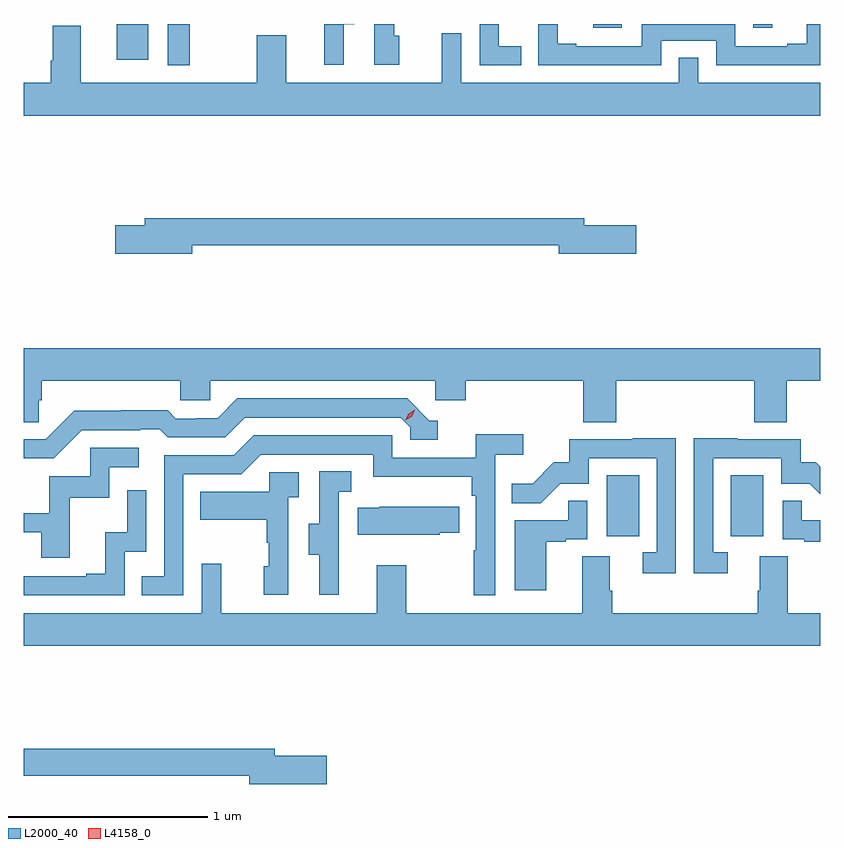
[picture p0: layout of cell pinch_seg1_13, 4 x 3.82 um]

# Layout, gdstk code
import gdstk
lib = gdstk.Library(unit=1e-6, precision=1e-09)
def R(c, l, rs):  # rectangles x0, y0, x1, y1
    for r in rs: c.add(gdstk.rectangle(r[:2], r[2:], *l))
def P(c, l, *ps):  # polygons
    for p in ps: c.add(gdstk.Polygon(p, *l))
L2000_40 = (2000, 40)
L4158_0 = (4158, 0)

pinch_seg1_13 = lib.new_cell('pinch_seg1_13')
R(pinch_seg1_13, L2000_40, [(1122.848,572.262,1123.012,572.569), (1123.472,572.262,1123.636,572.569), (1120.644,574.629,1120.753,574.836), (1120.388,574.656,1120.546,574.836), (1122.781,574.818,1122.925,574.836), (1123.584,574.818,1123.681,574.836)])
P(pinch_seg1_13, L2000_40, [(1123.122,574.752),(1123.398,574.752),(1123.398,574.629),(1123.921,574.629),(1123.921,574.836),(1123.853,574.836),(1123.853,574.738),(1123.757,574.738),(1123.757,574.725),(1123.494,574.725),(1123.494,574.836),(1123.026,574.836),(1123.026,574.725),(1122.697,574.725),(1122.697,574.738),(1122.602,574.738),(1122.602,574.836),(1122.504,574.836),(1122.504,574.629),(1123.122,574.629)],
  [(1121.806,574.776),(1121.781,574.776),(1121.781,574.836),(1121.682,574.836),(1121.682,574.632),(1121.806,574.632)],
  [(1121.527,574.834),(1121.581,574.834),(1121.581,574.836),(1121.429,574.836),(1121.429,574.632),(1121.527,574.632)],
  [(1122.419,574.725),(1122.306,574.725),(1122.306,574.836),(1122.21,574.836),(1122.21,574.629),(1122.419,574.629)],
  [(1123.921,574.54),(1123.308,574.54),(1123.308,574.667),(1123.212,574.667),(1123.212,574.54),(1122.117,574.54),(1122.117,574.789),(1122.02,574.789),(1122.02,574.54),(1121.239,574.54),(1121.239,574.78),(1121.092,574.78),(1121.092,574.54),(1120.207,574.54),(1120.207,574.826),(1120.067,574.826),(1120.067,574.652),(1120.055,574.652),(1120.055,574.54),(1119.921,574.54),(1119.921,574.376),(1123.921,574.376)],
  [(1120.768,573.724),(1122.608,573.724),(1122.608,573.682),(1122.997,573.682),(1122.997,573.824),(1122.736,573.824),(1122.736,573.86),(1120.529,573.86),(1120.529,573.824),(1120.38,573.824),(1120.38,573.682),(1120.768,573.682)],
  [(1119.995,572.946),(1120.01,572.946),(1120.01,573.044),(1120.707,573.044),(1120.707,572.946),(1120.857,572.946),(1120.857,573.044),(1121.988,573.044),(1121.988,572.946),(1122.14,572.946),(1122.14,573.044),(1122.731,573.044),(1122.731,572.836),(1122.896,572.836),(1122.896,573.044),(1123.589,573.044),(1123.589,572.836),(1123.754,572.836),(1123.754,573.044),(1123.921,573.044),(1123.921,573.208),(1119.921,573.208),(1119.921,572.836),(1119.995,572.836)],
  [(1120.212,572.796),(1120.505,572.796),(1120.505,572.799),(1120.604,572.799),(1120.643,572.76),(1120.932,572.76),(1121.031,572.859),(1121.814,572.859),(1121.862,572.811),(1121.862,572.748),(1122.001,572.748),(1122.001,572.844),(1121.958,572.844),(1121.847,572.955),(1120.994,572.955),(1120.895,572.856),(1120.788,572.856),(1120.788,572.853),(1120.685,572.853),(1120.643,572.896),(1120.41,572.896),(1120.41,572.893),(1120.174,572.893),(1120.032,572.751),(1119.921,572.751),(1119.921,572.655),(1120.071,572.655)],
  [(1120.722,572.574),(1121.013,572.574),(1121.112,572.673),(1121.676,572.673),(1121.676,572.561),(1122.172,572.561),(1122.172,572.465),(1122.192,572.465),(1122.192,572.192),(1122.18,572.192),(1122.18,571.965),(1122.288,571.965),(1122.288,572.672),(1122.43,572.672),(1122.43,572.774),(1122.191,572.774),(1122.191,572.658),(1121.772,572.658),(1121.772,572.769),(1121.075,572.769),(1120.976,572.67),(1120.626,572.67),(1120.626,572.061),(1120.513,572.061),(1120.513,571.965),(1120.722,571.965)],
  [(1123.456,572.181),(1123.383,572.181),(1123.383,572.655),(1123.725,572.655),(1123.725,572.526),(1123.869,572.526),(1123.921,572.474),(1123.921,572.613),(1123.9,572.634),(1123.824,572.634),(1123.824,572.751),(1123.505,572.751),(1123.505,572.756),(1123.287,572.756),(1123.287,572.076),(1123.456,572.076)],
  [(1123.197,572.756),(1122.979,572.756),(1122.979,572.751),(1122.661,572.751),(1122.661,572.634),(1122.584,572.634),(1122.477,572.527),(1122.373,572.527),(1122.373,572.428),(1122.517,572.428),(1122.615,572.526),(1122.759,572.526),(1122.759,572.655),(1123.101,572.655),(1123.101,572.181),(1123.029,572.181),(1123.029,572.076),(1123.197,572.076)],
  [(1120.151,572.457),(1120.35,572.457),(1120.35,572.61),(1120.498,572.61),(1120.498,572.706),(1120.254,572.706),(1120.254,572.565),(1120.049,572.565),(1120.049,572.379),(1119.921,572.379),(1119.921,572.283),(1120.007,572.283),(1120.007,572.154),(1120.151,572.154)],
  [(1121.504,572.181),(1121.502,572.181),(1121.502,572.485),(1121.566,572.485),(1121.566,572.588),(1121.406,572.588),(1121.406,572.325),(1121.351,572.325),(1121.351,572.17),(1121.405,572.17),(1121.405,571.968),(1121.504,571.968)],
  [(1121.25,572.459),(1121.302,572.459),(1121.302,572.583),(1121.154,572.583),(1121.154,572.485),(1120.807,572.485),(1120.807,572.345),(1121.142,572.345),(1121.142,572.231),(1121.152,572.231),(1121.152,572.112),(1121.126,572.112),(1121.126,571.968),(1121.25,571.968)],
  [(1120.428,572.184),(1120.536,572.184),(1120.536,572.494),(1120.44,572.494),(1120.44,572.282),(1120.331,572.282),(1120.331,572.074),(1120.235,572.074),(1120.235,572.061),(1119.921,572.061),(1119.921,571.965),(1120.428,571.965)],
  [(1123.921,572.343),(1123.829,572.343),(1123.829,572.441),(1123.734,572.441),(1123.734,572.247),(1123.841,572.247),(1123.841,572.235),(1123.921,572.235)],
  [(1122.544,572.235),(1122.644,572.235),(1122.644,572.247),(1122.75,572.247),(1122.75,572.441),(1122.655,572.441),(1122.655,572.343),(1122.386,572.343),(1122.386,571.992),(1122.544,571.992)],
  [(1122.009,572.281),(1122.107,572.281),(1122.107,572.41),(1121.707,572.41),(1121.707,572.407),(1121.599,572.407),(1121.599,572.27),(1122.009,572.27)],
  [(1123.921,571.876),(1123.759,571.876),(1123.759,572.162),(1123.619,572.162),(1123.619,571.988),(1123.607,571.988),(1123.607,571.876),(1122.878,571.876),(1122.878,571.988),(1122.865,571.988),(1122.865,572.162),(1122.725,572.162),(1122.725,571.876),(1121.841,571.876),(1121.841,572.116),(1121.693,572.116),(1121.693,571.876),(1120.913,571.876),(1120.913,572.125),(1120.815,572.125),(1120.815,571.876),(1119.921,571.876),(1119.921,571.712),(1123.921,571.712)],
  [(1121.443,571.16),(1121.182,571.16),(1121.182,571.196),(1119.921,571.196),(1119.921,571.06),(1121.054,571.06),(1121.054,571.018),(1121.443,571.018)])
P(pinch_seg1_13, L4158_0, [(1121.838,572.845),(1121.838,572.845),(1121.854,572.878),(1121.884,572.897),(1121.885,572.897),(1121.885,572.897),(1121.869,572.864),(1121.838,572.845)])

lib.write_gds('pinch_seg1_13.gds')
